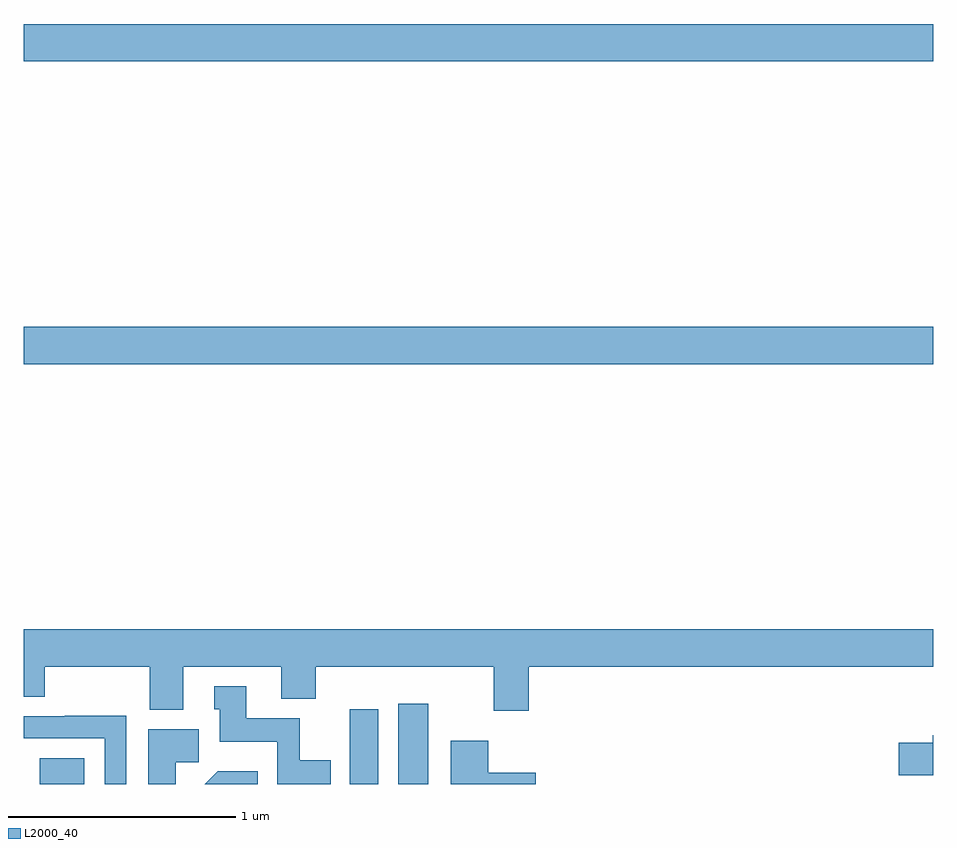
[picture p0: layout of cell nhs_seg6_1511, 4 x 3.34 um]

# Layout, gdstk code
import gdstk
lib = gdstk.Library(unit=1e-6, precision=1e-09)
def R(c, l, rs):  # rectangles x0, y0, x1, y1
    for r in rs: c.add(gdstk.rectangle(r[:2], r[2:], *l))
def P(c, l, *ps):  # polygons
    for p in ps: c.add(gdstk.Polygon(p, *l))
L2000_40 = (2000, 40)

nhs_seg6_1511 = lib.new_cell('nhs_seg6_1511')
R(nhs_seg6_1511, L2000_40, [(203.069,933.5,203.266,933.613), (204.434,933.5,204.559,933.829), (204.647,933.5,204.778,933.853), (203,935.348,207,935.512), (203,936.68,207,936.844)])
P(nhs_seg6_1511, L2000_40, [(205.22,934.016),(207,934.016),(207,934.18),(203,934.18),(203,933.883),(203.091,933.883),(203.091,934.016),(203.554,934.016),(203.554,933.827),(203.701,933.827),(203.701,934.016),(204.131,934.016),(204.131,933.875),(204.284,933.875),(204.284,934.016),(205.067,934.016),(205.067,933.822),(205.22,933.822)],
  [(204.349,933.604),(204.213,933.604),(204.213,933.79),(203.977,933.79),(203.977,933.931),(203.837,933.931),(203.837,933.828),(203.861,933.828),(203.861,933.686),(204.114,933.686),(204.114,933.5),(204.349,933.5)],
  [(203.451,933.8),(203.179,933.8),(203.179,933.798),(203,933.798),(203,933.702),(203.355,933.702),(203.355,933.5),(203.451,933.5)],
  [(203.668,933.595),(203.77,933.595),(203.77,933.742),(203.546,933.742),(203.546,933.5),(203.668,933.5)],
  [(207,933.715),(206.999,933.715),(206.999,933.681),(206.85,933.681),(206.85,933.539),(207,933.539)],
  [(205.252,933.55),(205.042,933.55),(205.042,933.691),(204.878,933.691),(204.878,933.5),(205.252,933.5)],
  [(204.029,933.556),(203.852,933.556),(203.796,933.5),(204.029,933.5)])

lib.write_gds('nhs_seg6_1511.gds')
